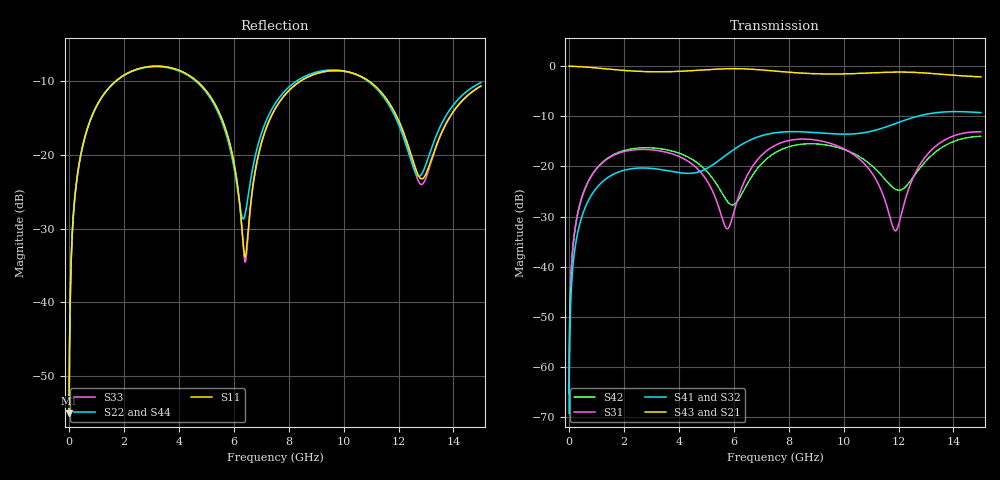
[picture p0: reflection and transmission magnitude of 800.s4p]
! Created with skrf 1.8.0 (http://scikit-rf.org).
# GHz S RI R 50.0
!freq ReS11 ImS11 ReS12 ImS12 ReS13 ImS13
! ReS14 ImS14
! ReS21 ImS21 ReS22 ImS22 ReS23 ImS23
! ReS24 ImS24
! ReS31 ImS31 ReS32 ImS32 ReS33 ImS33
! ReS34 ImS34
! ReS41 ImS41 ReS42 ImS42 ReS43 ImS43
! ReS44 ImS44
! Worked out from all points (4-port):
!   2499 points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, 5 MHz to 15 GHz, reference 50 ohm
!   strongest paths, dB at 5 MHz, 3.476 GHz, 7.19 GHz, 11.1 GHz, 15 GHz:
!     S43: 0.0, -1.1, -0.8, -1.3, -2.1
!     S21: 0.0, -1.1, -0.8, -1.3, -2.1
!     S41: -69.2, -20.7, -13.6, -12.9, -9.3
!     S32: -69.2, -20.8, -13.6, -12.9, -9.3
!     S31: -65.3, -17.1, -16.9, -21.9, -13.1
!     S42: -65.3, -16.6, -18.5, -20.2, -14.0
!   lowest |S11| = -55.0 dB at 5 MHz (marker M1), VSWR 1.00, Z = 50.1 + j0.108 ohm
!   |S11| at or under -10 dB: start of sweep to 1.714 GHz; 4.644 GHz to 8.44 GHz (3.796 GHz wide, 58 % of centre); 10.91 GHz to end of sweep
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0.005  0.00141 0.00107  0.9986 -0.00275  6.94e-05 0.000539  -6.76e-05 -0.000341
       0.9986 -0.00275  0.00141 0.00107  -6.76e-05 -0.000341  6.95e-05 0.000539
       6.94e-05 0.000539  -6.76e-05 -0.000341  0.00141 0.00107  0.9986 -0.00275
       -6.76e-05 -0.000341  6.95e-05 0.000539  0.9986 -0.00275  0.00141 0.00107
0.3626511  0.0233 0.0818  0.968 -0.1978  0.0102 0.0372  -0.00879 -0.0232
           0.968 -0.1978  0.0232 0.0818  -0.00878 -0.0232  0.0109 0.0371
           0.0102 0.0372  -0.00878 -0.0232  0.0233 0.0818  0.968 -0.1978
           -0.00879 -0.0232  0.0109 0.0371  0.968 -0.1978  0.0232 0.0818
1.619545  0.2391 0.1895  0.6173 -0.6877  0.1075 0.0712  -0.082 -0.0168
          0.6173 -0.6877  0.2368 0.1908  -0.0819 -0.0169  0.1153 0.0624
          0.1075 0.0712  -0.0819 -0.0169  0.2391 0.1895  0.6174 -0.6877
          -0.082 -0.0168  0.1153 0.0624  0.6174 -0.6877  0.2367 0.1908
6.377657  0.0199 -0.00878  -0.9366 -0.0561  0.037 0.0597  -0.00457 0.171
          -0.9366 -0.0561  0.037 0.00461  -0.00736 0.1709  -0.0287 0.0513
          0.037 0.0597  -0.00736 0.1709  0.0184 -0.00911  -0.9366 -0.0565
          -0.00457 0.171  -0.0287 0.0513  -0.9366 -0.0565  0.0387 0.00415
10.34181  0.3443 -0.0928  0.1809 0.8205  0.0927 -0.0952  0.1884 -0.095
          0.1809 0.8205  0.3417 -0.0998  0.1898 -0.089  0.086 -0.1049
          0.0927 -0.0952  0.1898 -0.089  0.3424 -0.0935  0.1809 0.8215
          0.1884 -0.095  0.086 -0.1049  0.1809 0.8215  0.3392 -0.0977
11.89246  0.1302 -0.1369  0.7193 0.4925  -0.0226 -0.00326  0.1431 -0.2266
          0.7193 0.4925  0.125 -0.1273  0.1508 -0.2218  -0.0537 -0.0248
          -0.0226 -0.00326  0.1508 -0.2218  0.1252 -0.1368  0.7198 0.4927
          0.1431 -0.2266  -0.0537 -0.0248  0.7198 0.4927  0.1272 -0.1231
15  0.2742 0.0994  0.481 -0.6154  0.2214 -0.000756  -0.3128 -0.1432
    0.481 -0.6154  0.2926 0.0958  -0.3066 -0.1535  0.1994 0.0112
    0.2214 -0.000756  -0.3066 -0.1535  0.2723 0.1034  0.4825 -0.6151
    -0.3128 -0.1432  0.1994 0.0112  0.4825 -0.6151  0.2912 0.0909
